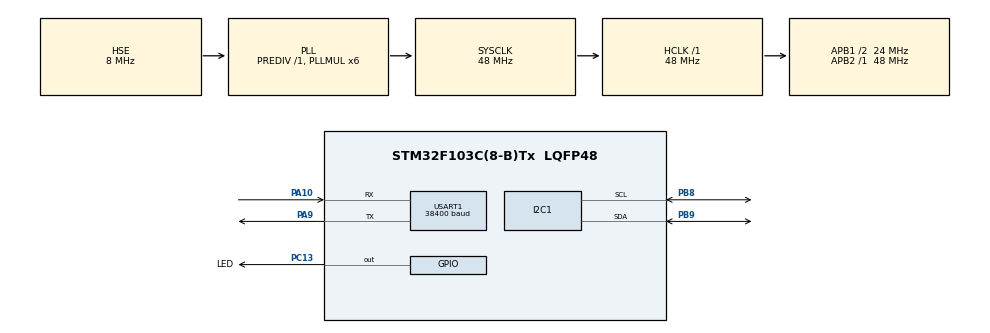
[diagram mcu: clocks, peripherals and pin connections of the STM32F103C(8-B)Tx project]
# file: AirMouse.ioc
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I2C1.I2C_Mode=I2C_Fast
Mcu.Family=STM32F1
Mcu.Name=STM32F103C(8-B)Tx
Mcu.Package=LQFP48
NVIC.PriorityGroup=NVIC_PRIORITYGROUP_4
NVIC.USART1_IRQn=true\:0\:0\:false\:false\:true\:true\:true\:true
PA10.Mode=Asynchronous
PA10.Signal=USART1_RX
PA13.Mode=Serial_Wire
PA13.Signal=SYS_JTMS-SWDIO
PA14.Mode=Serial_Wire
PA14.Signal=SYS_JTCK-SWCLK
PA9.Mode=Asynchronous
PA9.Signal=USART1_TX
PB8.Mode=I2C
PB8.Signal=I2C1_SCL
PB9.Mode=I2C
PB9.Signal=I2C1_SDA
PC13-TAMPER-RTC.GPIO_Label=LED
PC13-TAMPER-RTC.Signal=GPIO_Output
PD0-OSC_IN.Mode=HSE-External-Oscillator
PD0-OSC_IN.Signal=RCC_OSC_IN
PD1-OSC_OUT.Mode=HSE-External-Oscillator
PD1-OSC_OUT.Signal=RCC_OSC_OUT
ProjectManager.HeapSize=0x200
ProjectManager.StackSize=0x400
ProjectManager.TargetToolchain=STM32CubeIDE
RCC.AHBFreq_Value=48000000
RCC.APB1CLKDivider=RCC_HCLK_DIV2
RCC.APB1Freq_Value=24000000
RCC.APB1TimFreq_Value=48000000
RCC.APB2Freq_Value=48000000
RCC.APB2TimFreq_Value=48000000
RCC.HCLKFreq_Value=48000000
RCC.PLLMUL=RCC_PLL_MUL6
RCC.PLLSourceVirtual=RCC_PLLSOURCE_HSE
RCC.SYSCLKFreq_VALUE=48000000
RCC.SYSCLKSource=RCC_SYSCLKSOURCE_PLLCLK
RCC.USBFreq_Value=48000000
USART1.BaudRate=38400
USART1.VirtualMode=VM_ASYNC
board=custom

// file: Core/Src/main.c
/* USER CODE BEGIN Header */
/**
  ******************************************************************************
  * @file           : main.c
  * @brief          : Main program body
  ******************************************************************************
  * @attention
  *
  * Copyright (c) 2022 STMicroelectronics.
  * All rights reserved.
  *
  * This software is licensed under terms that can be found in the LICENSE file
  * in the root directory of this software component.
  * If no LICENSE file comes with this software, it is provided AS-IS.
  *
  ******************************************************************************
  */
/* USER CODE END Header */
#include "main.h"

/* USER CODE BEGIN Includes */
#include "fonts.h"
#include "ssd1306.h"
#include "stdio.h"

/* USER CODE END Includes */

/* USER CODE BEGIN PTD */

//extern USBD_HandleTypeDef hUsbDeviceFS;

typedef struct
{
	uint8_t button;
	int8_t mouse_x;
	int8_t mouse_y;
	int8_t wheel;
} mouseHID;

mouseHID mousehid = {0,0,0,0};

/* USER CODE END PTD */

/* USER CODE BEGIN PD */

#define MPU6050_ADDR 0xD0

#define SMPLRT_DIV_REG 0x19
#define GYRO_CONFIG_REG 0x1B
#define ACCEL_CONFIG_REG 0x1C
#define ACCEL_XOUT_H_REG 0x3B
#define TEMP_OUT_H_REG 0x41
#define GYRO_XOUT_H_REG 0x43
#define PWR_MGMT_1_REG 0x6B
#define WHO_AM_I_REG 0x75

/*
 * AccelFS define el fondo de escala del acelerometro.
 *
 * Valores de AccelFS: 0x00 = +-2g; 0x08 = +-4g; 0x10 = +-8g; 0x18 = +-16g
 *
 * AccelSensitivity transforma la información recibida del acelerometro en unidades de g
 * Por lo que depende del fondo de escala seleccionado.
 *
 * Valores de AccelSensitivity: 2g --> 16384; 4g --> 8192, 8g --> 4096; 16g --> 2048
*/
#define AccelFS 0x00
#define AccelSensitivity 16384.0

/*
 * GyroFS define el fondo de escala del giroscopio.
 *
 * Valores de GyroFS: 0x00 = +-250°/s; 0x08 = +-500°/s; 0x10 = +-1000°/s; 0x18 = +-2000°/s
 *
 * GyroSensitivity transforma la información recibida del giroscopio en unidades de °/s
 * Por lo que depende del fondo de escala seleccionado.
 *
 * Valores de GyroSensitivity: 250°/s --> 131; 500°/s --> 65.5; 1000°/s --> 32.8; 2000°/s --> 16.4
 * */
#define GyroFS 0x00
#define GyroSensitivity 131.0
/* USER CODE END PD */

I2C_HandleTypeDef hi2c1;

UART_HandleTypeDef huart1;

void SystemClock_Config(void);
static void MX_GPIO_Init(void);
static void MX_I2C1_Init(void);
static void MX_USART1_UART_Init(void);

/* USER CODE BEGIN 0 */

int16_t Accel_X_RAW = 0;
int16_t Accel_Y_RAW = 0;
int16_t Accel_Z_RAW = 0;

int16_t Gyro_X_RAW = 0;
int16_t Gyro_Y_RAW = 0;
int16_t Gyro_Z_RAW = 0;

float Ax, Ay, Az, Gx, Gy, Gz;

uint8_t Accel_Data[7];
uint8_t Gyro_Data[7];

uint8_t handshake_rx[1];
uint8_t handshake_tx[7];

void MPU6050_Init (void)
{
	uint8_t check;
	uint8_t Data;

	// check device ID WHO_AM_I

	HAL_I2C_Mem_Read (&hi2c1, MPU6050_ADDR,WHO_AM_I_REG,1, &check, 1, 1000);

	if (check == 104)  // 0x68 will be returned by the sensor if everything goes well
	{
		// power management register 0X6B we should write all 0's to wake the sensor up
		Data = 0;
		HAL_I2C_Mem_Write(&hi2c1, MPU6050_ADDR, PWR_MGMT_1_REG, 1,&Data, 1, 1000);

		// Set DATA RATE of 1KHz by writing SMPLRT_DIV register
		Data = 0x07;
		HAL_I2C_Mem_Write(&hi2c1, MPU6050_ADDR, SMPLRT_DIV_REG, 1, &Data, 1, 1000);

		// Set accelerometer configuration in ACCEL_CONFIG Register
		// XA_ST=0,YA_ST=0,ZA_ST=0, FS_SEL=0 -> � 2g
		Data = AccelFS;
		HAL_I2C_Mem_Write(&hi2c1, MPU6050_ADDR, ACCEL_CONFIG_REG, 1, &Data, 1, 1000);

		// Set Gyroscopic configuration in GYRO_CONFIG Register
		// XG_ST=0,YG_ST=0,ZG_ST=0, FS_SEL=0 -> � 250 �/s
		Data = GyroFS;
		HAL_I2C_Mem_Write(&hi2c1, MPU6050_ADDR, GYRO_CONFIG_REG, 1, &Data, 1, 1000);
	}

}

void MPU6050_Read_Accel (void)
{
	uint8_t Rec_Data[6];

	// Read 6 BYTES of data starting from ACCEL_XOUT_H register

	HAL_I2C_Mem_Read (&hi2c1, MPU6050_ADDR, ACCEL_XOUT_H_REG, 1, Rec_Data, 6, 1000);

	for(int i=0; i<6; i++)
	{
		Accel_Data[i] = Rec_Data[i];
	}

	Accel_X_RAW = (int16_t)(Rec_Data[0] << 8 | Rec_Data [1]);
	Accel_Y_RAW = (int16_t)(Rec_Data[2] << 8 | Rec_Data [3]);
	Accel_Z_RAW = (int16_t)(Rec_Data[4] << 8 | Rec_Data [5]);

	/*** convert the RAW values into acceleration in 'g'
	     we have to divide according to the Full scale value set in FS_SEL
	     I have configured FS_SEL = 0. So I am dividing by 16384.0
	     for more details check ACCEL_CONFIG Register              ****/

	Ax = Accel_X_RAW/AccelSensitivity;
	Ay = Accel_Y_RAW/AccelSensitivity;
	Az = Accel_Z_RAW/AccelSensitivity;
}

void MPU6050_Read_Gyro (void)
{
	uint8_t Rec_Data[6];

	// Read 6 BYTES of data starting from GYRO_XOUT_H register

	HAL_I2C_Mem_Read (&hi2c1, MPU6050_ADDR, GYRO_XOUT_H_REG, 1, Rec_Data, 6, 1000);

	for(int i=0; i<6; i++)
		{
			Gyro_Data[i] = Rec_Data[i];
		}

	Gyro_X_RAW = (int16_t)(Rec_Data[0] << 8 | Rec_Data [1]);
	Gyro_Y_RAW = (int16_t)(Rec_Data[2] << 8 | Rec_Data [3]);
	Gyro_Z_RAW = (int16_t)(Rec_Data[4] << 8 | Rec_Data [5]);

	/*** convert the RAW values into dps (�/s)
	     we have to divide according to the Full scale value set in FS_SEL
	     I have configured FS_SEL = 0. So I am dividing by 131.0
	     for more details check GYRO_CONFIG Register              ****/

	Gx = Gyro_X_RAW/GyroSensitivity;
	Gy = Gyro_Y_RAW/GyroSensitivity;
	Gz = Gyro_Z_RAW/GyroSensitivity;
}

/* USER CODE END 0 */

int main(void)
{

  /* MCU Configuration--------------------------------------------------------*/

  /* Reset of all peripherals, Initializes the Flash interface and the Systick. */
  HAL_Init();

  /* Configure the system clock */
  SystemClock_Config();

  /* Initialize all configured peripherals */
  MX_GPIO_Init();
  MX_I2C1_Init();
  MX_USART1_UART_Init();
  /* USER CODE BEGIN 2 */
  SSD1306_Init();
  MPU6050_Init();
  SSD1306_Clear();
  handshake_rx[0] = 0;
  HAL_UART_Receive_IT(&huart1, (uint8_t *)handshake_rx, 1);

  /*
   * F407			F103
   * PA3=RX   -->	PA9
   * PA2=TX   --> 	PA10
   *
   * F103
   * PB8 SCL
   * PB9 SDA
   */

  /* USER CODE END 2 */

  /* Infinite loop */
  while (1)
  {

    /* USER CODE BEGIN 3 */

	  MPU6050_Read_Accel ();
	  MPU6050_Read_Gyro ();

  }
  /* USER CODE END 3 */
}

void SystemClock_Config(void)
{
  RCC_OscInitTypeDef RCC_OscInitStruct = {0};
  RCC_ClkInitTypeDef RCC_ClkInitStruct = {0};

  /** Initializes the RCC Oscillators according to the specified parameters
  * in the RCC_OscInitTypeDef structure.
  */
  RCC_OscInitStruct.OscillatorType = RCC_OSCILLATORTYPE_HSE;
  RCC_OscInitStruct.HSEState = RCC_HSE_ON;
  RCC_OscInitStruct.HSEPredivValue = RCC_HSE_PREDIV_DIV1;
  RCC_OscInitStruct.HSIState = RCC_HSI_ON;
  RCC_OscInitStruct.PLL.PLLState = RCC_PLL_ON;
  RCC_OscInitStruct.PLL.PLLSource = RCC_PLLSOURCE_HSE;
  RCC_OscInitStruct.PLL.PLLMUL = RCC_PLL_MUL6;
  if (HAL_RCC_OscConfig(&RCC_OscInitStruct) != HAL_OK)
  {
    Error_Handler();
  }

  /** Initializes the CPU, AHB and APB buses clocks
  */
  RCC_ClkInitStruct.ClockType = RCC_CLOCKTYPE_HCLK|RCC_CLOCKTYPE_SYSCLK
                              |RCC_CLOCKTYPE_PCLK1|RCC_CLOCKTYPE_PCLK2;
  RCC_ClkInitStruct.SYSCLKSource = RCC_SYSCLKSOURCE_PLLCLK;
  RCC_ClkInitStruct.AHBCLKDivider = RCC_SYSCLK_DIV1;
  RCC_ClkInitStruct.APB1CLKDivider = RCC_HCLK_DIV2;
  RCC_ClkInitStruct.APB2CLKDivider = RCC_HCLK_DIV1;

  if (HAL_RCC_ClockConfig(&RCC_ClkInitStruct, FLASH_LATENCY_1) != HAL_OK)
  {
    Error_Handler();
  }
}

static void MX_I2C1_Init(void)
{

  hi2c1.Instance = I2C1;
  hi2c1.Init.ClockSpeed = 400000;
  hi2c1.Init.DutyCycle = I2C_DUTYCYCLE_2;
  hi2c1.Init.OwnAddress1 = 0;
  hi2c1.Init.AddressingMode = I2C_ADDRESSINGMODE_7BIT;
  hi2c1.Init.DualAddressMode = I2C_DUALADDRESS_DISABLE;
  hi2c1.Init.OwnAddress2 = 0;
  hi2c1.Init.GeneralCallMode = I2C_GENERALCALL_DISABLE;
  hi2c1.Init.NoStretchMode = I2C_NOSTRETCH_DISABLE;
  if (HAL_I2C_Init(&hi2c1) != HAL_OK)
  {
    Error_Handler();
  }

}

static void MX_USART1_UART_Init(void)
{

  huart1.Instance = USART1;
  huart1.Init.BaudRate = 38400;
  huart1.Init.WordLength = UART_WORDLENGTH_8B;
  huart1.Init.StopBits = UART_STOPBITS_1;
  huart1.Init.Parity = UART_PARITY_NONE;
  huart1.Init.Mode = UART_MODE_TX_RX;
  huart1.Init.HwFlowCtl = UART_HWCONTROL_NONE;
  huart1.Init.OverSampling = UART_OVERSAMPLING_16;
  if (HAL_UART_Init(&huart1) != HAL_OK)
  {
    Error_Handler();
  }

}

static void MX_GPIO_Init(void)
{
  GPIO_InitTypeDef GPIO_InitStruct = {0};

  /* GPIO Ports Clock Enable */
  __HAL_RCC_GPIOC_CLK_ENABLE();
  __HAL_RCC_GPIOD_CLK_ENABLE();
  __HAL_RCC_GPIOA_CLK_ENABLE();
  __HAL_RCC_GPIOB_CLK_ENABLE();

  /*Configure GPIO pin Output Level */
  HAL_GPIO_WritePin(LED_GPIO_Port, LED_Pin, GPIO_PIN_RESET);

  /*Configure GPIO pin : LED_Pin */
  GPIO_InitStruct.Pin = LED_Pin;
  GPIO_InitStruct.Mode = GPIO_MODE_OUTPUT_PP;
  GPIO_InitStruct.Pull = GPIO_NOPULL;
  GPIO_InitStruct.Speed = GPIO_SPEED_FREQ_LOW;
  HAL_GPIO_Init(LED_GPIO_Port, &GPIO_InitStruct);

}

/* USER CODE BEGIN 4 */

void HAL_UART_TxCpltCallback(UART_HandleTypeDef *huart)
{
  /* Prevent unused argument(s) compilation warning */
  UNUSED(huart);
  /* NOTE: This function should not be modified, when the callback is needed,
           the HAL_UART_TxCpltCallback could be implemented in the user file
   */

  HAL_UART_Receive_IT(&huart1, (uint8_t *)handshake_rx, 1);

}

void HAL_UART_RxCpltCallback(UART_HandleTypeDef *huart)
{
  /* Prevent unused argument(s) compilation warning */
  UNUSED(huart);
  /* NOTE: This function should not be modified, when the callback is needed,
           the HAL_UART_RxCpltCallback could be implemented in the user file
   */
  //handshake_rx[0] = 0;
  HAL_GPIO_TogglePin(LED_GPIO_Port, LED_Pin);

  switch(handshake_rx[0])
  {
  case 1:
	  handshake_tx[6] = 1;
	  HAL_UART_Transmit_IT(&huart1, (uint8_t *)handshake_tx, 7);
	  break;

  case 2:
	  Accel_Data[6] = 2;
	  HAL_UART_Transmit_IT(&huart1, (uint8_t *)Accel_Data, 7);
	  break;

  case 3:
	  Gyro_Data[6] = 3;
	  HAL_UART_Transmit_IT(&huart1, (uint8_t *)Gyro_Data, 7);
	  break;

  default:
	  HAL_UART_Receive_IT(&huart1, (uint8_t *)handshake_rx, 1);
	  break;
  }

}

/* USER CODE END 4 */

void Error_Handler(void)
{
  __disable_irq();
  while (1)
  {
  }
}
